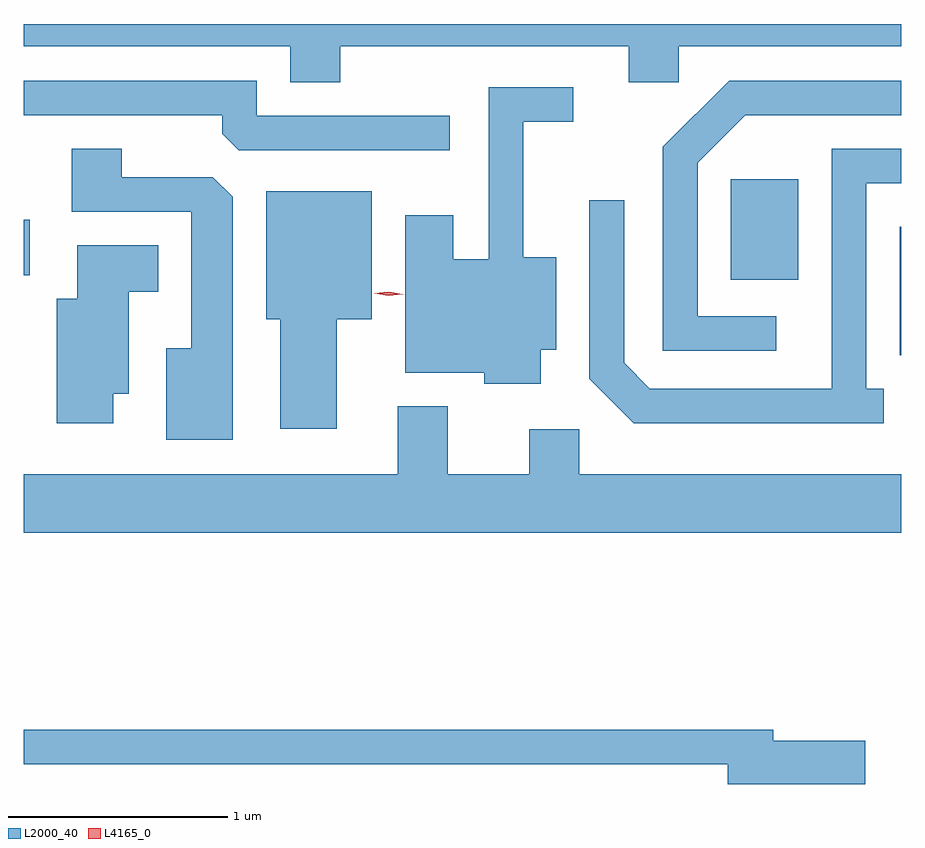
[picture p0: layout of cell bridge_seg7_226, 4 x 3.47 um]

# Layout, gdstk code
import gdstk
lib = gdstk.Library(unit=1e-6, precision=1e-09)
def R(c, l, rs):  # rectangles x0, y0, x1, y1
    for r in rs: c.add(gdstk.rectangle(r[:2], r[2:], *l))
def P(c, l, *ps):  # polygons
    for p in ps: c.add(gdstk.Polygon(p, *l))
L2000_40 = (2000, 40)
L4165_0 = (4165, 0)

bridge_seg7_226 = lib.new_cell('bridge_seg7_226')
R(bridge_seg7_226, L2000_40, [(1781.891,1706.246,1781.897,1706.833), (1781.121,1706.591,1781.429,1707.049), (1777.897,1706.611,1777.924,1706.864)])
P(bridge_seg7_226, L2000_40, [(1779.339,1707.656),(1780.656,1707.656),(1780.656,1707.491),(1780.884,1707.491),(1780.884,1707.656),(1781.897,1707.656),(1781.897,1707.757),(1777.897,1707.757),(1777.897,1707.656),(1779.111,1707.656),(1779.111,1707.491),(1779.339,1707.491)],
  [(1781.328,1706.424),(1780.969,1706.424),(1780.969,1707.124),(1781.187,1707.341),(1781.897,1707.341),(1781.897,1707.499),(1781.114,1707.499),(1780.811,1707.197),(1780.811,1706.266),(1781.328,1706.266)],
  [(1779.838,1707.339),(1778.959,1707.339),(1778.959,1707.499),(1777.897,1707.499),(1777.897,1707.341),(1778.801,1707.341),(1778.801,1707.257),(1778.877,1707.181),(1779.838,1707.181)],
  [(1780.254,1706.271),(1780.324,1706.271),(1780.324,1706.694),(1780.174,1706.694),(1780.174,1707.311),(1780.403,1707.311),(1780.403,1707.469),(1780.016,1707.469),(1780.016,1706.684),(1779.854,1706.684),(1779.854,1706.884),(1779.636,1706.884),(1779.636,1706.166),(1779.996,1706.166),(1779.996,1706.116),(1780.254,1706.116)],
  [(1778.849,1706.969),(1778.759,1707.059),(1778.344,1707.059),(1778.344,1707.189),(1778.116,1707.189),(1778.116,1706.901),(1778.661,1706.901),(1778.661,1706.279),(1778.546,1706.279),(1778.546,1705.861),(1778.849,1705.861)],
  [(1781.818,1706.094),(1781.739,1706.094),(1781.739,1707.031),(1781.897,1707.031),(1781.897,1707.189),(1781.581,1707.189),(1781.581,1706.094),(1780.752,1706.094),(1780.634,1706.212),(1780.634,1706.953),(1780.476,1706.953),(1780.476,1706.139),(1780.679,1705.936),(1781.818,1705.936)],
  [(1779.324,1706.411),(1779.484,1706.411),(1779.484,1706.994),(1779.001,1706.994),(1779.001,1706.411),(1779.066,1706.411),(1779.066,1705.911),(1779.324,1705.911)],
  [(1778.304,1706.071),(1778.374,1706.071),(1778.374,1706.536),(1778.509,1706.536),(1778.509,1706.749),(1778.141,1706.749),(1778.141,1706.504),(1778.046,1706.504),(1778.046,1705.936),(1778.304,1705.936)],
  [(1781.897,1705.704),(1780.429,1705.704),(1780.429,1705.909),(1780.201,1705.909),(1780.201,1705.704),(1779.829,1705.704),(1779.829,1706.014),(1779.601,1706.014),(1779.601,1705.704),(1777.897,1705.704),(1777.897,1705.436),(1781.897,1705.436)],
  [(1781.734,1704.489),(1781.314,1704.489),(1781.314,1704.539),(1777.897,1704.539),(1777.897,1704.381),(1781.106,1704.381),(1781.106,1704.291),(1781.734,1704.291)])
P(bridge_seg7_226, L4165_0, [(1779.559,1706.517),(1779.494,1706.53),(1779.494,1706.53),(1779.494,1706.53),(1779.56,1706.537),(1779.625,1706.525),(1779.626,1706.525),(1779.625,1706.524)])

lib.write_gds('bridge_seg7_226.gds')
